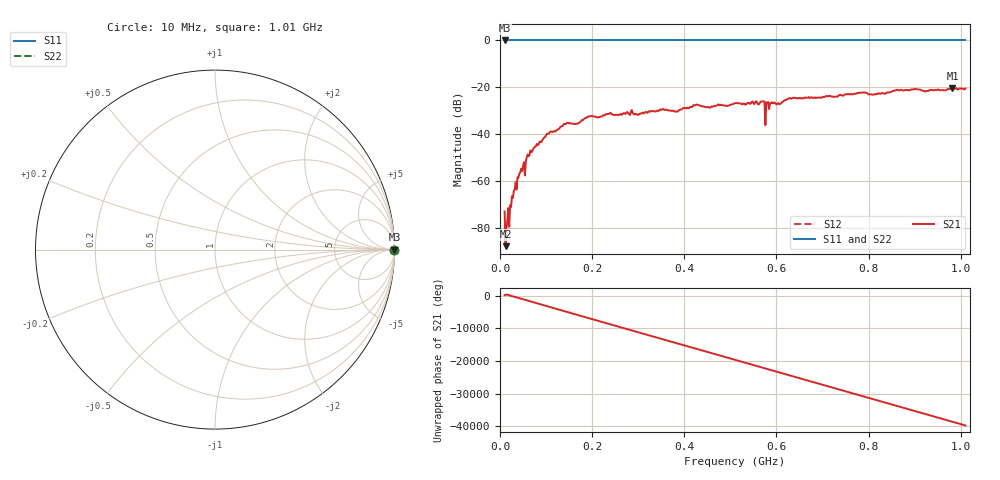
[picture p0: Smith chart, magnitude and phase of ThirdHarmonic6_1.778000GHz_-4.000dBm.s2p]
! 8/16/2025 9:29:09 PM
! C:\ANRITSUVNA\TEMP\TEMP.S2P
! CHANNEL.1
! TR.MEASUREMENT
! RAW.DATA
! RF.CORRECTION.OFF
! AVERAGING.OFF
! IF.BANDWIDTH: 5KHZ
! SWEEPTYPE:  FREQ.SWEEP(Linear)
! Reference Plane Port Info
! PORT:  PORT1  PORT2
! DISTANCE:  0  m  0  m
! TIME:  0  s  0  s
! PHASE.OFFSET:  0  deg.  0  deg.
! LOSS:  0  dB  0  dB
! REF.LOSS:  0  dB  0  dB
! REF.FREQ:  0  Hz  0  Hz
! Power Info
! POWER:  -20  dBm  -20  dBm
! EFF.POWER:  -20  dBm  -20  dBm
! SOURCE.ATTEN:  0  dB  0  dB
! TEST.ATTEN:  0  dB  0  dB
# GHZ S RI R 50.0
! FREQ.GHZ  S11RE  S11IM  S21RE  S21IM  S12RE  S12IM  S22RE  S22IM
!; PortSelection: Port_12
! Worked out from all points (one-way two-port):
!   501 points, 10 MHz to 1.01 GHz, reference 50 ohm
!   highest |S21| = -20.28 dB at 982 MHz (marker M1); lowest = -87.7 dB at 12 MHz (marker M2)
!   lowest |S11| = 0.0 dB at 10 MHz (marker M3)
!   |S11| at or under -10 dB: nowhere
!   |S22| runs from 0.0 to 0.0 dB; largest |S21 - S12| = 1.1
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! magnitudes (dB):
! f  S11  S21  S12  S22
! 10 MHz  0.0  -72.9  0.0  0.0
! 12 MHz  0.0  -87.7  0.0  0.0
! 16 MHz  0.0  -76.7  0.0  0.0
! 30 MHz  0.0  -64.2  0.0  0.0
! 42 MHz  0.0  -56.7  0.0  0.0
! 52 MHz  0.0  -51.9  0.0  0.0
! 62 MHz  0.0  -49.4  0.0  0.0
! 106 MHz  0.0  -39.7  0.0  0.0
! 142 MHz  0.0  -35.7  0.0  0.0
! 178 MHz  0.0  -33.9  0.0  0.0
! 236 MHz  0.0  -31.3  0.0  0.0
! 344 MHz  0.0  -30.1  0.0  0.0
! 510 MHz  0.0  -26.8  0.0  0.0
! 570 MHz  0.0  -26.0  0.0  0.0
! 572 MHz  0.0  -26.0  0.0  0.0
! 580 MHz  0.0  -26.4  0.0  0.0
! 582 MHz  0.0  -26.3  0.0  0.0
! 626 MHz  0.0  -24.9  0.0  0.0
! 678 MHz  0.0  -24.4  0.0  0.0
! 844 MHz  0.0  -22.1  0.0  0.0
! 982 MHz  0.0  -20.3  0.0  0.0
! 1.01 GHz  0.0  -20.5  0.0  0.0
